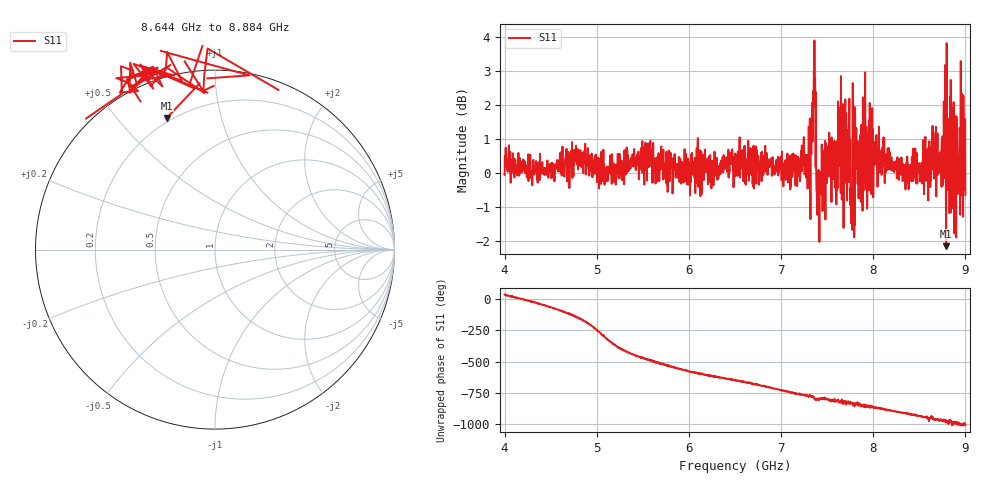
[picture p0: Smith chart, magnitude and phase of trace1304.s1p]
! Created with skrf 1.8.0 (http://scikit-rf.org).
# Hz S RI R 50.0
!freq ReS11 ImS11
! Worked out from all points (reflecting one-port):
!   1601 points, 4 GHz to 9 GHz, reference 50 ohm
!   lowest |S11| = -2.1 dB at 8.791 GHz (marker M1), VSWR 8.15, Z = 9.07 + j34.2 ohm
!   phase of S11 starts at 38 deg and turns -1046 deg over the sweep
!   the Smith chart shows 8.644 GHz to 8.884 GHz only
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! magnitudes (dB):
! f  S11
! 4 GHz  -0.1
! 4.625 GHz  0.5
! 5.25 GHz  0.4
! 5.572 GHz  0.2
! 5.625 GHz  0.3
! 5.875 GHz  0.1
! 6.5 GHz  0.6
! 7.125 GHz  0.1
! 7.294 GHz  0.1
! 7.347 GHz  2.4
! 7.366 GHz  2.0
! 7.409 GHz  -0.3
! 7.509 GHz  0.1
! 7.591 GHz  0.3
! 7.65 GHz  2.8
! 7.719 GHz  0.0
! 7.75 GHz  1.0
! 7.775 GHz  1.0
! 7.8 GHz  -1.5
! 7.875 GHz  0.1
! 7.894 GHz  -0.5
! 8.375 GHz  -0.1
! 8.656 GHz  0.8
! 8.728 GHz  0.3
! 8.791 GHz  -2.1
! 8.869 GHz  -0.8
! 8.972 GHz  0.8
! 9 GHz  -0.6
